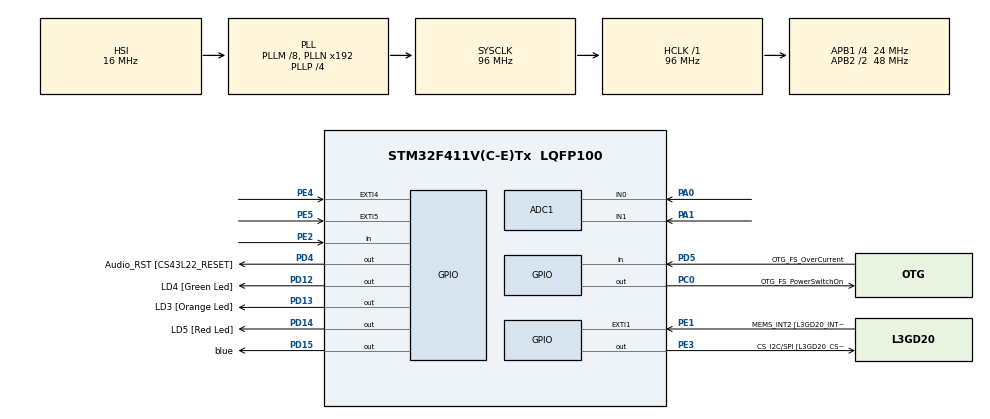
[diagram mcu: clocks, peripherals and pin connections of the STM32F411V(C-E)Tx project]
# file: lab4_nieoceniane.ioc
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ADC1.Channel-6\#ChannelRegularConversion=ADC_CHANNEL_0
ADC1.Channel-7\#ChannelRegularConversion=ADC_CHANNEL_TEMPSENSOR
ADC1.Channel-8\#ChannelRegularConversion=ADC_CHANNEL_1
ADC1.ContinuousConvMode=DISABLE
ADC1.NbrOfConversion=3
ADC1.NbrOfConversionFlag=1
ADC1.Rank-6\#ChannelRegularConversion=1
ADC1.Rank-7\#ChannelRegularConversion=2
ADC1.Rank-8\#ChannelRegularConversion=3
ADC1.SamplingTime-6\#ChannelRegularConversion=ADC_SAMPLETIME_84CYCLES
ADC1.SamplingTime-7\#ChannelRegularConversion=ADC_SAMPLETIME_84CYCLES
ADC1.SamplingTime-8\#ChannelRegularConversion=ADC_SAMPLETIME_84CYCLES
ADC1.master=1
Mcu.Family=STM32F4
Mcu.Name=STM32F411V(C-E)Tx
Mcu.Package=LQFP100
NVIC.PriorityGroup=NVIC_PRIORITYGROUP_0
PA0-WKUP.Signal=ADCx_IN0
PA1.Signal=ADCx_IN1
PA10.GPIO_Label=OTG_FS_ID
PA10.Signal=USB_OTG_FS_ID
PA11.GPIO_Label=OTG_FS_DM
PA11.Signal=USB_OTG_FS_DM
PA12.GPIO_Label=OTG_FS_DP
PA12.Signal=USB_OTG_FS_DP
PA13.GPIO_Label=SWDIO
PA13.Signal=SYS_JTMS-SWDIO
PA14.GPIO_Label=SWCLK
PA14.Signal=SYS_JTCK-SWCLK
PA4.GPIO_Label=I2S3_WS [CS43L22_LRCK]
PA4.GPIO_Mode=GPIO_MODE_AF_PP
PA4.GPIO_PuPd=GPIO_NOPULL
PA4.GPIO_Speed=GPIO_SPEED_FREQ_LOW
PA4.Signal=I2S3_WS
PA5.GPIO_Label=SPI1_SCK [L3GD20_SC/SPC]
PA5.Signal=SPI1_SCK
PA6.GPIO_Label=SPI1_MISO [L3GD20_AS0/SDO]
PA6.Signal=SPI1_MISO
PA7.GPIO_Label=SPI1_MOSI [L3GD20_SDA/SDI/SDO]
PA7.Signal=SPI1_MOSI
PA9.GPIO_Label=VBUS_FS
PA9.Signal=USB_OTG_FS_VBUS
PB10.GPIO_Label=CLK_IN [MP45DT02_CLK]
PB10.Signal=I2S2_CK
PB12.Signal=I2S2_WS
PB3.GPIO_Label=SWO
PB3.Signal=SYS_JTDO-SWO
PB6.GPIO_Label=Audio_SCL [CS43L22_SCL]
PB6.GPIO_Mode=GPIO_MODE_AF_OD
PB6.GPIO_PuPd=GPIO_NOPULL
PB6.GPIO_Speed=GPIO_SPEED_FREQ_LOW
PB6.Signal=I2C1_SCL
PB9.GPIO_Label=Audio_SDA [CS43L22_SDA]
PB9.GPIO_Mode=GPIO_MODE_AF_OD
PB9.GPIO_PuPd=GPIO_NOPULL
PB9.GPIO_Speed=GPIO_SPEED_FREQ_LOW
PB9.Signal=I2C1_SDA
PC0.GPIO_Label=OTG_FS_PowerSwitchOn
PC0.PinState=GPIO_PIN_SET
PC0.Signal=GPIO_Output
PC10.GPIO_Label=I2S3_SCK [CS43L22_SCLK]
PC10.GPIO_Mode=GPIO_MODE_AF_PP
PC10.GPIO_PuPd=GPIO_NOPULL
PC10.GPIO_Speed=GPIO_SPEED_FREQ_LOW
PC10.Signal=I2S3_CK
PC12.GPIO_Label=I2S3_SD [CS43L22_SDIN]
PC12.GPIO_Mode=GPIO_MODE_AF_PP
PC12.GPIO_PuPd=GPIO_NOPULL
PC12.GPIO_Speed=GPIO_SPEED_FREQ_LOW
PC12.Signal=I2S3_SD
PC14-OSC32_IN.GPIO_Label=PC14-OSC32_IN
PC14-OSC32_IN.Signal=RCC_OSC32_IN
PC15-OSC32_OUT.GPIO_Label=PC15-OSC32_OUT
PC15-OSC32_OUT.Signal=RCC_OSC32_OUT
PC3.GPIO_Label=PDM_OUT [MP45DT02_DOUT]
PC3.Signal=I2S2_SD
PC7.GPIO_Label=I2S3_MCK [CS43L22_MCLK]
PC7.GPIO_Mode=GPIO_MODE_AF_PP
PC7.GPIO_PuPd=GPIO_NOPULL
PC7.GPIO_Speed=GPIO_SPEED_FREQ_LOW
PC7.Signal=I2S3_MCK
PD12.GPIO_Label=LD4 [Green Led]
PD12.GPIO_PuPd=GPIO_NOPULL
PD12.GPIO_Speed=GPIO_SPEED_FREQ_LOW
PD12.Signal=GPIO_Output
PD13.GPIO_Label=LD3 [Orange Led]
PD13.GPIO_PuPd=GPIO_NOPULL
PD13.GPIO_Speed=GPIO_SPEED_FREQ_LOW
PD13.Signal=GPIO_Output
PD14.GPIO_Label=LD5 [Red Led]
PD14.GPIO_PuPd=GPIO_NOPULL
PD14.GPIO_Speed=GPIO_SPEED_FREQ_LOW
PD14.Signal=GPIO_Output
PD15.GPIO_Label=blue
PD15.GPIO_PuPd=GPIO_NOPULL
PD15.GPIO_Speed=GPIO_SPEED_FREQ_LOW
PD15.Signal=GPIO_Output
PD4.GPIO_Label=Audio_RST [CS43L22_RESET]
PD4.Signal=GPIO_Output
PD5.GPIO_Label=OTG_FS_OverCurrent
PD5.Signal=GPIO_Input
PE1.GPIO_Label=MEMS_INT2 [L3GD20_INT2]
PE1.GPIO_ModeDefaultEXTI=GPIO_MODE_EVT_RISING
PE1.Signal=GPXTI1
PE2.Signal=GPIO_Input
PE3.GPIO_Label=CS_I2C/SPI [L3GD20_CS_I2C/SPI]
PE3.Signal=GPIO_Output
PE4.GPIO_ModeDefaultEXTI=GPIO_MODE_EVT_RISING
PE4.Signal=GPXTI4
PE5.GPIO_ModeDefaultEXTI=GPIO_MODE_EVT_RISING
PE5.Signal=GPXTI5
PH0\ -\ OSC_IN.GPIO_Label=PH0-OSC_IN
PH0\ -\ OSC_IN.Signal=RCC_OSC_IN
PH1\ -\ OSC_OUT.GPIO_Label=PH1-OSC_OUT
PH1\ -\ OSC_OUT.Signal=RCC_OSC_OUT
ProjectManager.HeapSize=0x200
ProjectManager.StackSize=0x400
ProjectManager.TargetToolchain=STM32CubeIDE
RCC.48MHZClocksFreq_Value=48000000
RCC.AHBFreq_Value=96000000
RCC.APB1CLKDivider=RCC_HCLK_DIV4
RCC.APB1Freq_Value=24000000
RCC.APB1TimFreq_Value=48000000
RCC.APB2CLKDivider=RCC_HCLK_DIV2
RCC.APB2Freq_Value=48000000
RCC.APB2TimFreq_Value=96000000
RCC.CortexFreq_Value=96000000
RCC.HCLKFreq_Value=96000000
RCC.HSE_VALUE=8000000
RCC.HSI_VALUE=16000000
RCC.LSE_VALUE=32768
RCC.PLLI2SM=5
RCC.PLLI2SN=200
RCC.PLLM=8
RCC.PLLP=RCC_PLLP_DIV4
RCC.PLLQ=8
RCC.SYSCLKFreq_VALUE=96000000
RCC.SYSCLKSource=RCC_SYSCLKSOURCE_PLLCLK
RCC.VCOOutputFreq_Value=384000000
SH.ADCx_IN0.0=ADC1_IN0,IN0
SH.ADCx_IN1.0=ADC1_IN1,IN1
VP_ADC1_TempSens_Input.Mode=IN-TempSens
board=STM32F411E-DISCO

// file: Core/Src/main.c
/* USER CODE BEGIN Header */
/**
  ******************************************************************************
  * @file           : main.c
  * @brief          : Main program body
  ******************************************************************************
  * @attention
  *
  * Copyright (c) 2023 STMicroelectronics.
  * All rights reserved.
  *
  * This software is licensed under terms that can be found in the LICENSE file
  * in the root directory of this software component.
  * If no LICENSE file comes with this software, it is provided AS-IS.
  *
  ******************************************************************************
  */
/* USER CODE END Header */
#include "main.h"

ADC_HandleTypeDef hadc1;

void SystemClock_Config(void);
static void MX_GPIO_Init(void);
static void MX_ADC1_Init(void);
/* USER CODE BEGIN PFP */
extern void initialise_monitor_handles(void);
uint16_t dane[16];
//ADC_ChannelConfTypeDef sConfig = {0};
/* USER CODE END PFP */

/* USER CODE BEGIN 0 */

//float temp;
//#define V25 0.76
//#define VSENSE 3/4096
//#define Avg_Slope 0.0025
//float get_temp (uint16_t variable)
//{
//	//float t = 1; //((((3*variable/4096)-1)/2)+25)
//	return ((((VSENSE*variable)-V25)/Avg_Slope)+25);
//}

/* USER CODE END 0 */

int main(void)
{

  /* MCU Configuration--------------------------------------------------------*/

  /* Reset of all peripherals, Initializes the Flash interface and the Systick. */
  HAL_Init();

  /* Configure the system clock */
  SystemClock_Config();

  /* Initialize all configured peripherals */
  MX_GPIO_Init();
  MX_ADC1_Init();
  /* USER CODE BEGIN 2 */
  initialise_monitor_handles();
  /* USER CODE END 2 */

  /* Infinite loop */
  /* USER CODE BEGIN WHILE */
//  HAL_TIM_Base_Start(&htim2);
  //HAL_ADC_Start_DMA(&hadc1, &dane, 12);

  while (1)
  {

    /* USER CODE END WHILE */

    /* USER CODE BEGIN 3 */

	  //1

//	  sConfig.Channel = ADC_CHANNEL_TEMPSENSOR;
//	  sConfig.Rank = 1;
//	  sConfig.SamplingTime = ADC_SAMPLETIME_15CYCLES;
//	  HAL_ADC_ConfigChannel(&hadc1, &sConfig);

//	  printf("temp hexa %x\n", dane[0]);
//	  printf("temp dec %d\n", dane[0]);

	//  printf("temp celc %f\n",  ((((3*(float)dane[0]/4096)-0.76)/0.0025)+25));

//	  HAL_ADC_Start(&hadc1);
//	  sConfig.Channel = ADC_CHANNEL_0;
//	  sConfig.Rank = 1;
//	  sConfig.SamplingTime = ADC_SAMPLETIME_15CYCLES;
//	  HAL_ADC_ConfigChannel(&hadc1, &sConfig);
//	  HAL_ADC_PollForConversion(&hadc1, 100);
//	  dane[1] = HAL_ADC_GetValue(&hadc1);
//
//
//	  HAL_ADC_Start(&hadc1);
//	 	  sConfig.Channel = ADC_CHANNEL_1;
//	 	  sConfig.Rank = 1;
//	 	  sConfig.SamplingTime = ADC_SAMPLETIME_15CYCLES;
//	 	  HAL_ADC_ConfigChannel(&hadc1, &sConfig);
//	 	  HAL_ADC_PollForConversion(&hadc1, 100);
//	 	  dane[2] = HAL_ADC_GetValue(&hadc1);
//
//	  HAL_GPIO_TogglePin(blue_GPIO_Port, blue_Pin);

	  HAL_ADC_Start(&hadc1);
		  if (HAL_ADC_PollForConversion(&hadc1, 100) == HAL_OK)
		  {
			  dane[0] = HAL_ADC_GetValue(&hadc1);
			  HAL_ADC_Start(&hadc1);
		  }
		  if (HAL_ADC_PollForConversion(&hadc1, 100) == HAL_OK)
		  		  {
		  			  dane[1] = HAL_ADC_GetValue(&hadc1);
		  			  HAL_ADC_Start(&hadc1);
		  		  }
		  if (HAL_ADC_PollForConversion(&hadc1, 100) == HAL_OK)
		  		  {
		  			  dane[2] = HAL_ADC_GetValue(&hadc1);

		  		  }

		 // printf("%x\t x\t x\n", dane[i], dane[i+1], dane[i+2]);

	  printf("przycisk: %x\t temp: %f\t poten: %x\n", dane[0], ((((3*(float)dane[1]/4096)-0.76)/0.0025)+25), dane[2]);
//	  HAL_Delay(500);

	  //2
//	  HAL_ADC_Start_DMA(&hadc1, &dane, 12);
//	  for(int i=0;i<16;i++){
//		  printf("%x\t", dane[i]);
//	  }
	  //printf("\n");
	  HAL_GPIO_TogglePin(blue_GPIO_Port, blue_Pin);
	  HAL_Delay(1000);
  }
  /* USER CODE END 3 */
}

void SystemClock_Config(void)
{
  RCC_OscInitTypeDef RCC_OscInitStruct = {0};
  RCC_ClkInitTypeDef RCC_ClkInitStruct = {0};

  /** Configure the main internal regulator output voltage
  */
  __HAL_RCC_PWR_CLK_ENABLE();
  __HAL_PWR_VOLTAGESCALING_CONFIG(PWR_REGULATOR_VOLTAGE_SCALE1);

  /** Initializes the RCC Oscillators according to the specified parameters
  * in the RCC_OscInitTypeDef structure.
  */
  RCC_OscInitStruct.OscillatorType = RCC_OSCILLATORTYPE_HSI;
  RCC_OscInitStruct.HSIState = RCC_HSI_ON;
  RCC_OscInitStruct.HSICalibrationValue = RCC_HSICALIBRATION_DEFAULT;
  RCC_OscInitStruct.PLL.PLLState = RCC_PLL_ON;
  RCC_OscInitStruct.PLL.PLLSource = RCC_PLLSOURCE_HSI;
  RCC_OscInitStruct.PLL.PLLM = 8;
  RCC_OscInitStruct.PLL.PLLN = 192;
  RCC_OscInitStruct.PLL.PLLP = RCC_PLLP_DIV4;
  RCC_OscInitStruct.PLL.PLLQ = 8;
  if (HAL_RCC_OscConfig(&RCC_OscInitStruct) != HAL_OK)
  {
    Error_Handler();
  }

  /** Initializes the CPU, AHB and APB buses clocks
  */
  RCC_ClkInitStruct.ClockType = RCC_CLOCKTYPE_HCLK|RCC_CLOCKTYPE_SYSCLK
                              |RCC_CLOCKTYPE_PCLK1|RCC_CLOCKTYPE_PCLK2;
  RCC_ClkInitStruct.SYSCLKSource = RCC_SYSCLKSOURCE_PLLCLK;
  RCC_ClkInitStruct.AHBCLKDivider = RCC_SYSCLK_DIV1;
  RCC_ClkInitStruct.APB1CLKDivider = RCC_HCLK_DIV4;
  RCC_ClkInitStruct.APB2CLKDivider = RCC_HCLK_DIV2;

  if (HAL_RCC_ClockConfig(&RCC_ClkInitStruct, FLASH_LATENCY_3) != HAL_OK)
  {
    Error_Handler();
  }
}

static void MX_ADC1_Init(void)
{

  ADC_ChannelConfTypeDef sConfig = {0};

  /** Configure the global features of the ADC (Clock, Resolution, Data Alignment and number of conversion)
  */
  hadc1.Instance = ADC1;
  hadc1.Init.ClockPrescaler = ADC_CLOCK_SYNC_PCLK_DIV2;
  hadc1.Init.Resolution = ADC_RESOLUTION_12B;
  hadc1.Init.ScanConvMode = ENABLE;
  hadc1.Init.ContinuousConvMode = DISABLE;
  hadc1.Init.DiscontinuousConvMode = DISABLE;
  hadc1.Init.ExternalTrigConvEdge = ADC_EXTERNALTRIGCONVEDGE_NONE;
  hadc1.Init.ExternalTrigConv = ADC_SOFTWARE_START;
  hadc1.Init.DataAlign = ADC_DATAALIGN_RIGHT;
  hadc1.Init.NbrOfConversion = 3;
  hadc1.Init.DMAContinuousRequests = DISABLE;
  hadc1.Init.EOCSelection = ADC_EOC_SINGLE_CONV;
  if (HAL_ADC_Init(&hadc1) != HAL_OK)
  {
    Error_Handler();
  }

  /** Configure for the selected ADC regular channel its corresponding rank in the sequencer and its sample time.
  */
  sConfig.Channel = ADC_CHANNEL_0;
  sConfig.Rank = 1;
  sConfig.SamplingTime = ADC_SAMPLETIME_84CYCLES;
  if (HAL_ADC_ConfigChannel(&hadc1, &sConfig) != HAL_OK)
  {
    Error_Handler();
  }

  /** Configure for the selected ADC regular channel its corresponding rank in the sequencer and its sample time.
  */
  sConfig.Channel = ADC_CHANNEL_TEMPSENSOR;
  sConfig.Rank = 2;
  if (HAL_ADC_ConfigChannel(&hadc1, &sConfig) != HAL_OK)
  {
    Error_Handler();
  }

  /** Configure for the selected ADC regular channel its corresponding rank in the sequencer and its sample time.
  */
  sConfig.Channel = ADC_CHANNEL_1;
  sConfig.Rank = 3;
  if (HAL_ADC_ConfigChannel(&hadc1, &sConfig) != HAL_OK)
  {
    Error_Handler();
  }

}

static void MX_GPIO_Init(void)
{
  GPIO_InitTypeDef GPIO_InitStruct = {0};

  /* GPIO Ports Clock Enable */
  __HAL_RCC_GPIOE_CLK_ENABLE();
  __HAL_RCC_GPIOC_CLK_ENABLE();
  __HAL_RCC_GPIOH_CLK_ENABLE();
  __HAL_RCC_GPIOA_CLK_ENABLE();
  __HAL_RCC_GPIOB_CLK_ENABLE();
  __HAL_RCC_GPIOD_CLK_ENABLE();

  /*Configure GPIO pin Output Level */
  HAL_GPIO_WritePin(CS_I2C_SPI_GPIO_Port, CS_I2C_SPI_Pin, GPIO_PIN_RESET);

  /*Configure GPIO pin Output Level */
  HAL_GPIO_WritePin(OTG_FS_PowerSwitchOn_GPIO_Port, OTG_FS_PowerSwitchOn_Pin, GPIO_PIN_SET);

  /*Configure GPIO pin Output Level */
  HAL_GPIO_WritePin(GPIOD, LD4_Pin|LD3_Pin|LD5_Pin|blue_Pin
                          |Audio_RST_Pin, GPIO_PIN_RESET);

  /*Configure GPIO pin : PE2 */
  GPIO_InitStruct.Pin = GPIO_PIN_2;
  GPIO_InitStruct.Mode = GPIO_MODE_INPUT;
  GPIO_InitStruct.Pull = GPIO_NOPULL;
  HAL_GPIO_Init(GPIOE, &GPIO_InitStruct);

  /*Configure GPIO pin : CS_I2C_SPI_Pin */
  GPIO_InitStruct.Pin = CS_I2C_SPI_Pin;
  GPIO_InitStruct.Mode = GPIO_MODE_OUTPUT_PP;
  GPIO_InitStruct.Pull = GPIO_NOPULL;
  GPIO_InitStruct.Speed = GPIO_SPEED_FREQ_LOW;
  HAL_GPIO_Init(CS_I2C_SPI_GPIO_Port, &GPIO_InitStruct);

  /*Configure GPIO pins : PE4 PE5 MEMS_INT2_Pin */
  GPIO_InitStruct.Pin = GPIO_PIN_4|GPIO_PIN_5|MEMS_INT2_Pin;
  GPIO_InitStruct.Mode = GPIO_MODE_EVT_RISING;
  GPIO_InitStruct.Pull = GPIO_NOPULL;
  HAL_GPIO_Init(GPIOE, &GPIO_InitStruct);

  /*Configure GPIO pin : OTG_FS_PowerSwitchOn_Pin */
  GPIO_InitStruct.Pin = OTG_FS_PowerSwitchOn_Pin;
  GPIO_InitStruct.Mode = GPIO_MODE_OUTPUT_PP;
  GPIO_InitStruct.Pull = GPIO_NOPULL;
  GPIO_InitStruct.Speed = GPIO_SPEED_FREQ_LOW;
  HAL_GPIO_Init(OTG_FS_PowerSwitchOn_GPIO_Port, &GPIO_InitStruct);

  /*Configure GPIO pin : PDM_OUT_Pin */
  GPIO_InitStruct.Pin = PDM_OUT_Pin;
  GPIO_InitStruct.Mode = GPIO_MODE_AF_PP;
  GPIO_InitStruct.Pull = GPIO_NOPULL;
  GPIO_InitStruct.Speed = GPIO_SPEED_FREQ_LOW;
  GPIO_InitStruct.Alternate = GPIO_AF5_SPI2;
  HAL_GPIO_Init(PDM_OUT_GPIO_Port, &GPIO_InitStruct);

  /*Configure GPIO pin : I2S3_WS_Pin */
  GPIO_InitStruct.Pin = I2S3_WS_Pin;
  GPIO_InitStruct.Mode = GPIO_MODE_AF_PP;
  GPIO_InitStruct.Pull = GPIO_NOPULL;
  GPIO_InitStruct.Speed = GPIO_SPEED_FREQ_LOW;
  GPIO_InitStruct.Alternate = GPIO_AF6_SPI3;
  HAL_GPIO_Init(I2S3_WS_GPIO_Port, &GPIO_InitStruct);

  /*Configure GPIO pins : SPI1_SCK_Pin SPI1_MISO_Pin SPI1_MOSI_Pin */
  GPIO_InitStruct.Pin = SPI1_SCK_Pin|SPI1_MISO_Pin|SPI1_MOSI_Pin;
  GPIO_InitStruct.Mode = GPIO_MODE_AF_PP;
  GPIO_InitStruct.Pull = GPIO_NOPULL;
  GPIO_InitStruct.Speed = GPIO_SPEED_FREQ_VERY_HIGH;
  GPIO_InitStruct.Alternate = GPIO_AF5_SPI1;
  HAL_GPIO_Init(GPIOA, &GPIO_InitStruct);

  /*Configure GPIO pins : CLK_IN_Pin PB12 */
  GPIO_InitStruct.Pin = CLK_IN_Pin|GPIO_PIN_12;
  GPIO_InitStruct.Mode = GPIO_MODE_AF_PP;
  GPIO_InitStruct.Pull = GPIO_NOPULL;
  GPIO_InitStruct.Speed = GPIO_SPEED_FREQ_LOW;
  GPIO_InitStruct.Alternate = GPIO_AF5_SPI2;
  HAL_GPIO_Init(GPIOB, &GPIO_InitStruct);

  /*Configure GPIO pins : LD4_Pin LD3_Pin LD5_Pin blue_Pin
                           Audio_RST_Pin */
  GPIO_InitStruct.Pin = LD4_Pin|LD3_Pin|LD5_Pin|blue_Pin
                          |Audio_RST_Pin;
  GPIO_InitStruct.Mode = GPIO_MODE_OUTPUT_PP;
  GPIO_InitStruct.Pull = GPIO_NOPULL;
  GPIO_InitStruct.Speed = GPIO_SPEED_FREQ_LOW;
  HAL_GPIO_Init(GPIOD, &GPIO_InitStruct);

  /*Configure GPIO pins : I2S3_MCK_Pin I2S3_SCK_Pin I2S3_SD_Pin */
  GPIO_InitStruct.Pin = I2S3_MCK_Pin|I2S3_SCK_Pin|I2S3_SD_Pin;
  GPIO_InitStruct.Mode = GPIO_MODE_AF_PP;
  GPIO_InitStruct.Pull = GPIO_NOPULL;
  GPIO_InitStruct.Speed = GPIO_SPEED_FREQ_LOW;
  GPIO_InitStruct.Alternate = GPIO_AF6_SPI3;
  HAL_GPIO_Init(GPIOC, &GPIO_InitStruct);

  /*Configure GPIO pin : VBUS_FS_Pin */
  GPIO_InitStruct.Pin = VBUS_FS_Pin;
  GPIO_InitStruct.Mode = GPIO_MODE_INPUT;
  GPIO_InitStruct.Pull = GPIO_NOPULL;
  HAL_GPIO_Init(VBUS_FS_GPIO_Port, &GPIO_InitStruct);

  /*Configure GPIO pins : OTG_FS_ID_Pin OTG_FS_DM_Pin OTG_FS_DP_Pin */
  GPIO_InitStruct.Pin = OTG_FS_ID_Pin|OTG_FS_DM_Pin|OTG_FS_DP_Pin;
  GPIO_InitStruct.Mode = GPIO_MODE_AF_PP;
  GPIO_InitStruct.Pull = GPIO_NOPULL;
  GPIO_InitStruct.Speed = GPIO_SPEED_FREQ_VERY_HIGH;
  GPIO_InitStruct.Alternate = GPIO_AF10_OTG_FS;
  HAL_GPIO_Init(GPIOA, &GPIO_InitStruct);

  /*Configure GPIO pin : OTG_FS_OverCurrent_Pin */
  GPIO_InitStruct.Pin = OTG_FS_OverCurrent_Pin;
  GPIO_InitStruct.Mode = GPIO_MODE_INPUT;
  GPIO_InitStruct.Pull = GPIO_NOPULL;
  HAL_GPIO_Init(OTG_FS_OverCurrent_GPIO_Port, &GPIO_InitStruct);

  /*Configure GPIO pins : Audio_SCL_Pin Audio_SDA_Pin */
  GPIO_InitStruct.Pin = Audio_SCL_Pin|Audio_SDA_Pin;
  GPIO_InitStruct.Mode = GPIO_MODE_AF_OD;
  GPIO_InitStruct.Pull = GPIO_NOPULL;
  GPIO_InitStruct.Speed = GPIO_SPEED_FREQ_LOW;
  GPIO_InitStruct.Alternate = GPIO_AF4_I2C1;
  HAL_GPIO_Init(GPIOB, &GPIO_InitStruct);

}

/* USER CODE BEGIN 4 */
//void HAL_ADC_ConvCpltCallback(ADC_HandleTypeDef* hadc) {
//	printf("to juz jest koniec nie ma juz nic\n");
//}
//void HAL_ADC_ConvHalfCpltCallback(ADC_HandleTypeDef* hadc) {
//	printf("poloweczka\n");
//}
/* USER CODE END 4 */

void Error_Handler(void)
{
  __disable_irq();
  while (1)
  {
  }
}
